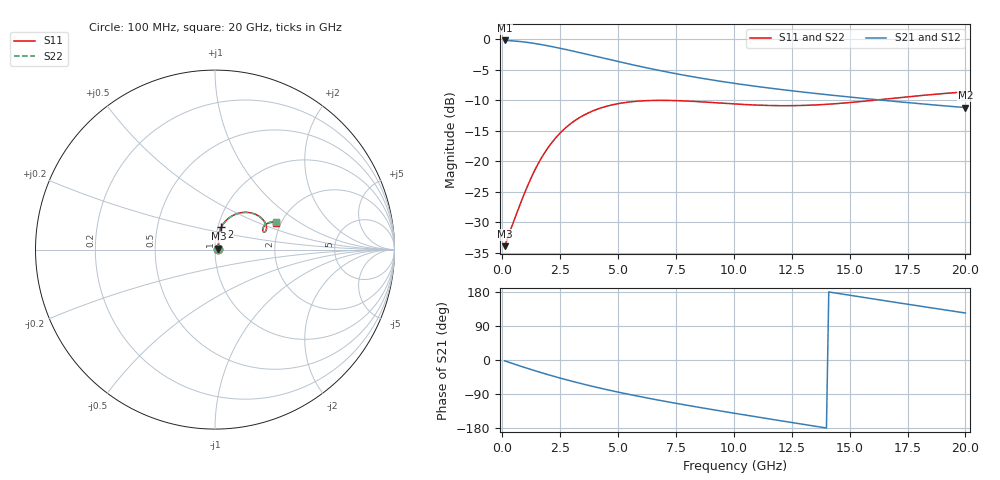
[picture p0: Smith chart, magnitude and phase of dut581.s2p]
! Touchstone file exported from HFSS 2024.1.0
!  File:  C:/UserFiles/LocalFiles/RDL_TSV_Batchsim/temp_RDL_TSV_581_1779757134.aedt
!  Generated:  09:18:39 AM May 26, 2026
!  Design:  RDL_TSV
!  Project:  temp_RDL_TSV_581_1779757134
!  Setup:  Setup1
!  Solution:  Sweep
! Variables:
!  dtsv = 9.72um
!  hbump = 3um
!  htsv = 72.78um
!  ldown = 546.74um
!  lrdl = 459.29um
!  p = 40
!  p1 = 59.2um
!  rhole = 10um
!  subl = 3477.38um
!  t = 450um
!  tdown = 2.78um
!  trdl = 4.27um
!  viad = 10um
!  wdown = 16.49um
!  wrdl = 24.37um
!  xbump = 18um
# GHz S MA R 50.000000
! Terminal data exported
! Port[1] = TM1_1_T1
! Port[2] = TM1_4_T1
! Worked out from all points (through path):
!   200 points, 100 MHz to 20 GHz, reference 50 ohm
!   highest |S21| = -0.17 dB at 100 MHz (marker M1); lowest = -11.2 dB at 20 GHz (marker M2)
!   group delay of S21, straight-line fit = 30.7 ps
!   lowest |S11| = -33.9 dB at 100 MHz (marker M3), VSWR 1.04, Z = 52 + j0.581 ohm
!   |S11| at or under -10 dB: start of sweep to 6.547 GHz; 7.183 GHz to 15.98 GHz (8.8 GHz wide, 76 % of centre)
!   |S22| runs from -33.9 to -8.6 dB; largest |S21 - S12| = 1.7e-13
!   S11 on the Smith chart (normalised r, x): 100 MHz: 1.04, +0.01; 2 GHz: 1.04, +0.27; 20 GHz: 1.88, +0.65
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0.1  0.02022 16.0  0.9802 -2.1  0.9802 -2.1  0.02022 16.0
! Gamma 0 0 0 0
! Port Impedance 50 0 50 0
0.6  0.03662 57.2  0.9674 -12.5  0.9674 -12.5  0.03662 57.2
1.2  0.07021 74.2  0.9383 -24.3  0.9383 -24.3  0.07018 74.2
1.6  0.09966 76.0  0.9127 -31.9  0.9127 -31.9  0.09961 76.0
2  0.1315 74.2  0.884 -39.1  0.884 -39.1  0.1315 74.2
2.3  0.1555 71.5  0.8612 -44.4  0.8612 -44.4  0.1554 71.5
2.7  0.1861 67.2  0.83 -51.1  0.83 -51.1  0.186 67.2
3.1  0.214 62.4  0.7984 -57.5  0.7984 -57.5  0.2138 62.4
3.5  0.2384 57.7  0.7672 -63.7  0.7672 -63.7  0.2381 57.7
4.2  0.272 49.7  0.7143 -73.9  0.7143 -73.9  0.2717 49.7
5.1  0.2997 40.8  0.6521 -86.0  0.6521 -86.0  0.2993 40.8
5.9  0.3123 34.3  0.6032 -96.0  0.6032 -96.0  0.3118 34.3
6.8  0.3166 28.5  0.5556 -106.5  0.5556 -106.5  0.3161 28.6
7.5  0.3152 25.1  0.5235 -114.3  0.5235 -114.3  0.3145 25.2
8.3  0.3103 22.2  0.4915 -122.9  0.4915 -122.9  0.3096 22.3
10.1  0.2953 19.5  0.4342 -141.3  0.4342 -141.3  0.2947 19.7
11.7  0.2869 20.5  0.3956 -157.1  0.3956 -157.1  0.2864 20.8
13.4  0.2896 23.3  0.3628 -173.7  0.3628 -173.7  0.2894 23.6
15  0.3036 25.6  0.3371 170.9  0.3371 170.9  0.3038 25.9
16.7  0.3264 26.5  0.3136 154.7  0.3136 154.7  0.327 26.8
18.3  0.3498 25.7  0.2942 139.7  0.2942 139.7  0.3507 26.0
20  0.3716 23.7  0.2762 124.0  0.2762 124.0  0.3728 23.9
